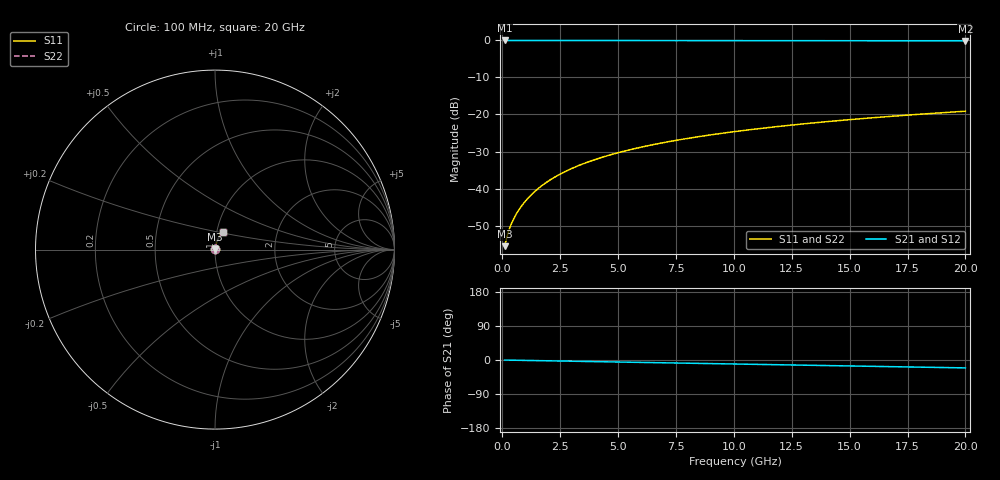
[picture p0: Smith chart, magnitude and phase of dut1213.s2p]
! Touchstone file exported from HFSS 2026.1.0
!  File:  C:/ffzhzh/LocalFiles/Ansys_Project_Files/temp_train_BSMRDL_1213_1783176664_22436.aedt
!  Generated:  10:52:14 PM Jul  4, 2026
!  Design:  BSMRDL
!  Project:  temp_train_BSMRDL_1213_1783176664_22436
! Variables:
!  h_bsmrdl = 3.59um
!  h_ox = 20um
!  h_rdl = 5um
!  h_sub = 80um
!  h_tmrdl = 5um
!  h_tsv = 80um
!  h_via = 3um
!  l_bsmrdl = 330.72um
!  l_sub = 730.72um
!  l_tmrdl = 200um
!  m_sub = 200um
!  pitch = 38.67um
!  r_tsv = 6um
!  s_tmrdl = 10um
!  w_bsmrdl = 27.57um
!  w_sub = 500um
!  w_tmrdl = 12um
!  x_tsv_center1 = 206um
!  x_tsv_center2 = 564.29um
!  x_tsv_center3 = 776.29um
!  x_tsv_center4 = 1134.58um
!  x_tsv_center5 = 1346.58um
!  x_tsv_center6 = 1704.87um
# GHz S MA R 50.000000
! Terminal data exported
! Port[1] = BSM_RDL1_1_T1
! Port[2] = BSM_RDL1_1_T2
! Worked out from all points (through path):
!   200 points, 100 MHz to 20 GHz, reference 50 ohm
!   highest |S21| = -0.01 dB at 100 MHz (marker M1); lowest = -0.1 dB at 20 GHz (marker M2)
!   group delay of S21, straight-line fit = 2.89 ps
!   lowest |S11| = -55.6 dB at 100 MHz (marker M3), VSWR 1.00, Z = 50.1 + j0.0819 ohm
!   |S11| at or under -10 dB: start of sweep to end of sweep
!   |S22| runs from -55.6 to -19.1 dB; largest |S21 - S12| = 3.2e-15
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0.1  0.001666 29.4  0.9985 -0.1  0.9985 -0.1  0.001666 29.4
! Gamma 0 0 0 0
! Port Impedance 50 0 50 0
0.2  0.002225 44.5  0.9984 -0.2  0.9984 -0.2  0.002226 44.5
0.3  0.002818 52.1  0.9983 -0.3  0.9983 -0.3  0.002819 52.1
0.4  0.003389 56.8  0.9982 -0.5  0.9982 -0.5  0.003392 56.9
0.5  0.003947 60.4  0.9981 -0.6  0.9981 -0.6  0.003951 60.4
0.6  0.004501 63.3  0.998 -0.7  0.998 -0.7  0.004506 63.3
0.8  0.00562 67.6  0.9979 -0.9  0.9979 -0.9  0.005625 67.5
1  0.006761 70.6  0.9979 -1.1  0.9979 -1.1  0.006766 70.6
1.2  0.007922 72.8  0.9978 -1.3  0.9978 -1.3  0.007927 72.8
1.7  0.01088 76.0  0.9977 -1.8  0.9977 -1.8  0.01088 76.0
2.2  0.01387 77.6  0.9975 -2.4  0.9975 -2.4  0.01387 77.6
2.8  0.01746 78.5  0.9973 -3.0  0.9973 -3.0  0.01746 78.5
3.5  0.02163 78.8  0.997 -3.8  0.997 -3.8  0.02163 78.8
4.2  0.02577 78.7  0.9966 -4.5  0.9966 -4.5  0.02577 78.7
5  0.03045 78.4  0.9962 -5.3  0.9962 -5.3  0.03045 78.4
5.9  0.03564 77.8  0.9957 -6.3  0.9957 -6.3  0.03564 77.8
6.8  0.04077 77.1  0.9951 -7.2  0.9951 -7.2  0.04077 77.1
8.3  0.04917 75.9  0.9942 -8.8  0.9942 -8.8  0.04917 75.8
10.1  0.05906 74.3  0.9931 -10.7  0.9931 -10.7  0.05906 74.3
13.4  0.07675 71.4  0.9909 -14.1  0.9909 -14.1  0.07675 71.3
16.7  0.09396 68.4  0.9887 -17.5  0.9887 -17.5  0.09396 68.3
20  0.1107 65.3  0.9863 -20.9  0.9863 -20.9  0.1107 65.2
